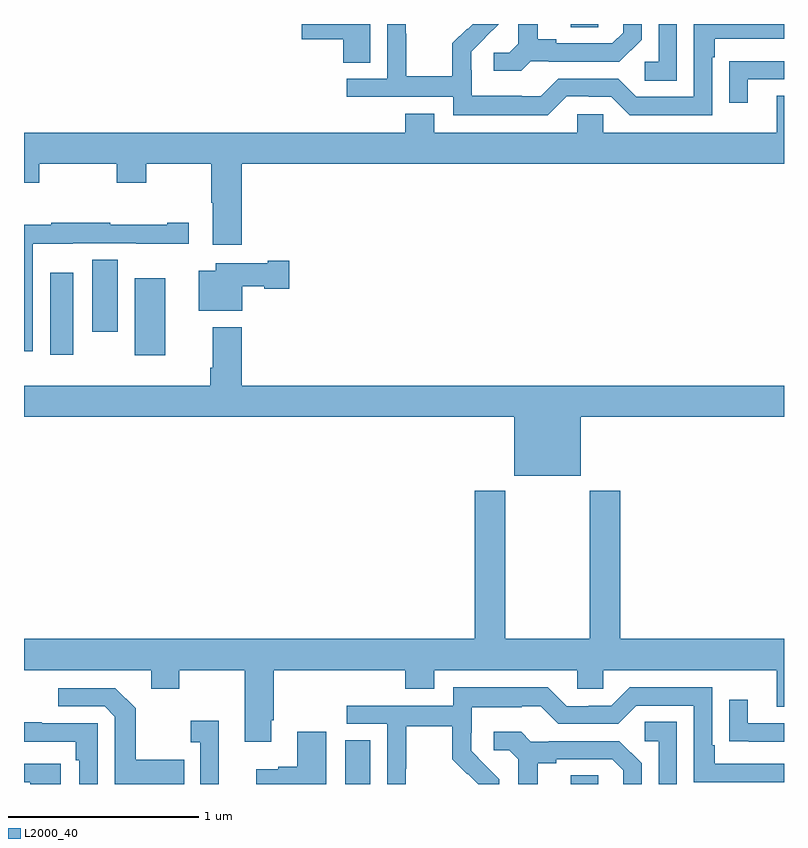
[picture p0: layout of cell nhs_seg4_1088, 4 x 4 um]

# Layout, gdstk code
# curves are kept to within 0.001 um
import gdstk
lib = gdstk.Library(unit=1e-6, precision=1e-09)
def R(c, l, rs):  # rectangles x0, y0, x1, y1
    for r in rs: c.add(gdstk.rectangle(r[:2], r[2:], *l))
def P(c, l, *ps):  # polygons
    for p in ps: c.add(gdstk.Polygon(p, *l))
L2000_40 = (2000, 40)

nhs_seg4_1088 = lib.new_cell('nhs_seg4_1088')
R(nhs_seg4_1088, L2000_40, [(168.692,782.9,168.823,783.131), (169.877,782.9,170.022,782.945), (167.582,785.157,167.743,785.563), (167.138,785.16,167.26,785.59), (167.36,785.28,167.494,785.66), (169.877,786.883,170.022,786.9)])
P(nhs_seg4_1088, L2000_40, [(170.436,786.9),(170.34,786.9),(170.34,786.702),(170.268,786.702),(170.268,786.601),(170.436,786.601)],
  [(169.668,786.705),(169.762,786.705),(169.762,786.702),(170.134,786.702),(170.25,786.818),(170.25,786.9),(170.153,786.9),(170.153,786.855),(170.096,786.798),(169.801,786.798),(169.801,786.821),(169.705,786.821),(169.705,786.9),(169.601,786.9),(169.601,786.797),(169.554,786.75),(169.473,786.75),(169.473,786.653),(169.616,786.653)],
  [(169.857,786.519),(169.973,786.519),(169.973,786.516),(170.091,786.516),(170.187,786.42),(170.622,786.42),(170.622,786.725),(170.635,786.725),(170.635,786.822),(171,786.822),(171,786.9),(170.526,786.9),(170.526,786.516),(170.223,786.516),(170.127,786.612),(169.812,786.612),(169.719,786.519),(169.619,786.519),(169.619,786.523),(169.356,786.523),(169.356,786.657),(169.354,786.657),(169.354,786.754),(169.498,786.9),(169.362,786.9),(169.335,786.873),(169.332,786.876),(169.255,786.799),(169.255,786.625),(169.011,786.625),(169.011,786.848),(169.008,786.848),(169.008,786.9),(168.912,786.9),(168.912,786.612),(168.699,786.612),(168.699,786.516),(169.26,786.516),(169.26,786.419),(169.757,786.419)],
  [(168.823,786.9),(168.462,786.9),(168.462,786.821),(168.68,786.821),(168.68,786.697),(168.823,786.697)],
  [(170.809,786.609),(171,786.609),(171,786.705),(170.815,786.705),(170.815,786.704),(170.713,786.704),(170.713,786.486),(170.809,786.486)],
  [(168.146,786.164),(171,786.164),(171,786.523),(170.963,786.523),(170.963,786.328),(170.049,786.328),(170.049,786.426),(169.911,786.426),(169.911,786.328),(169.159,786.328),(169.159,786.427),(169.007,786.427),(169.007,786.328),(167,786.328),(167,786.065),(167.079,786.065),(167.079,786.164),(167.488,786.164),(167.488,786.065),(167.643,786.065),(167.643,786.164),(167.986,786.164),(167.986,785.96),(167.993,785.96),(167.993,785.739),(168.146,785.739)],
  [(167.046,785.744),(167.256,785.744),(167.256,785.745),(167.59,785.745),(167.59,785.744),(167.866,785.744),(167.866,785.854),(167.753,785.854),(167.753,785.844),(167.453,785.844),(167.453,785.854),(167.143,785.854),(167.143,785.844),(167,785.844),(167,785.178),(167.046,785.178)],
  [(168.148,785.519),(168.264,785.519),(168.264,785.507),(168.397,785.507),(168.397,785.654),(168.284,785.654),(168.284,785.641),(168.008,785.641),(168.008,785.602),(167.921,785.602),(167.921,785.39),(168.148,785.39)],
  [(169.93,784.832),(171,784.832),(171,784.996),(168.146,784.996),(168.146,785.305),(167.993,785.305),(167.993,785.092),(167.981,785.092),(167.981,784.996),(167,784.996),(167,784.832),(169.58,784.832),(169.58,784.523),(169.93,784.523)],
  [(168.301,783.235),(168.314,783.235),(168.314,783.5),(169.007,783.5),(169.007,783.401),(169.159,783.401),(169.159,783.5),(169.911,783.5),(169.911,783.402),(170.049,783.402),(170.049,783.5),(170.963,783.5),(170.963,783.306),(171,783.306),(171,783.664),(170.138,783.664),(170.138,784.444),(169.978,784.444),(169.978,783.664),(169.533,783.664),(169.533,784.444),(169.373,784.444),(169.373,783.664),(167,783.664),(167,783.5),(167.669,783.5),(167.669,783.401),(167.817,783.401),(167.817,783.5),(168.161,783.5),(168.161,783.123),(168.301,783.123)],
  [(169.008,782.98),(169.011,782.98),(169.011,783.204),(169.255,783.204),(169.255,783.029),(169.332,782.952),(169.335,782.955),(169.391,782.9),(169.5,782.9),(169.5,782.926),(169.354,783.074),(169.354,783.171),(169.356,783.171),(169.356,783.305),(169.619,783.305),(169.619,783.309),(169.719,783.309),(169.812,783.216),(170.127,783.216),(170.223,783.312),(170.526,783.312),(170.526,782.91),(171,782.91),(171,783.006),(170.635,783.006),(170.635,783.103),(170.622,783.103),(170.622,783.408),(170.187,783.408),(170.091,783.312),(169.973,783.312),(169.973,783.309),(169.857,783.309),(169.757,783.409),(169.26,783.409),(169.26,783.312),(168.699,783.312),(168.699,783.216),(168.912,783.216),(168.912,782.9),(169.008,782.9)],
  [(167.843,783.027),(167.587,783.027),(167.587,783.299),(167.481,783.405),(167.181,783.405),(167.181,783.309),(167.424,783.309),(167.478,783.255),(167.478,782.9),(167.843,782.9)],
  [(171,783.219),(170.809,783.219),(170.809,783.343),(170.713,783.343),(170.713,783.124),(170.815,783.124),(170.815,783.123),(171,783.123)],
  [(168.026,783.232),(167.877,783.232),(167.877,783.119),(167.928,783.119),(167.928,782.9),(168.026,782.9)],
  [(170.436,783.227),(170.268,783.227),(170.268,783.126),(170.34,783.126),(170.34,782.9),(170.436,782.9)],
  [(167.388,783.219),(167.093,783.219),(167.093,783.224),(167,783.224),(167,783.123),(167.272,783.123),(167.272,783.026),(167.292,783.026),(167.292,782.9),(167.388,782.9)],
  [(169.705,783.008),(169.801,783.008),(169.801,783.03),(170.096,783.03),(170.153,782.973),(170.153,782.9),(170.25,782.9),(170.25,783.01),(170.134,783.126),(169.762,783.126),(169.762,783.123),(169.668,783.123),(169.616,783.175),(169.473,783.175),(169.473,783.078),(169.554,783.078),(169.601,783.031),(169.601,782.9),(169.705,782.9)],
  [(168.592,783.175),(168.437,783.175),(168.437,782.99),(168.338,782.99),(168.338,782.977),(168.222,782.977),(168.222,782.9),(168.592,782.9)],
  [(167.194,783.006),(167,783.006),(167,782.91),(167.033,782.91),(167.033,782.9),(167.194,782.9)])

lib.write_gds('nhs_seg4_1088.gds')
